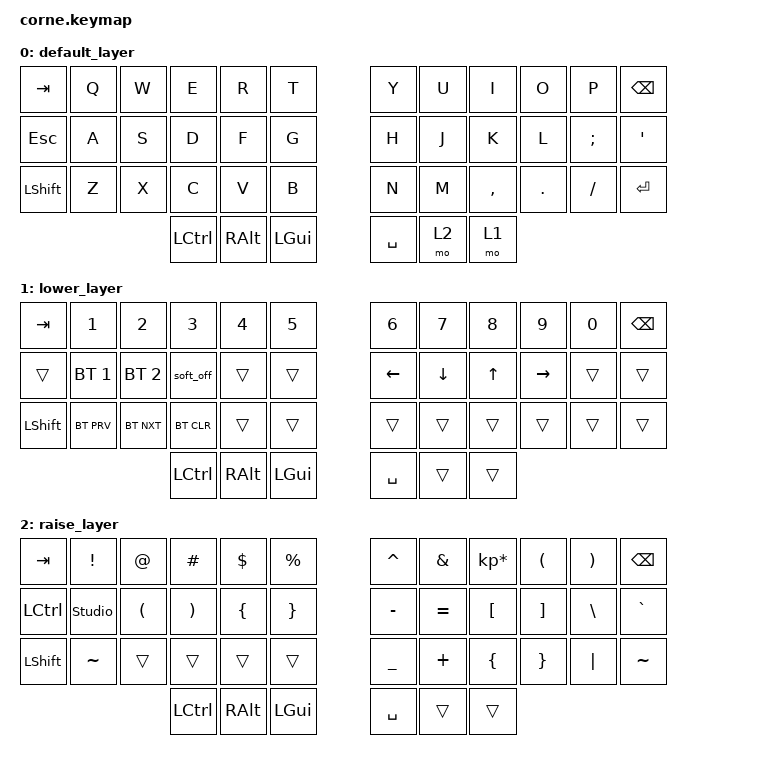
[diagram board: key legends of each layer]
/*
 * Copyright (c) 2020 The ZMK Contributors
 *
 * SPDX-License-Identifier: MIT
 */

#include <behaviors.dtsi>
#include <dt-bindings/zmk/keys.h>
#include <dt-bindings/zmk/bt.h>

/ {
        keymap {
                compatible = "zmk,keymap";

                default_layer {
// -----------------------------------------------------------------------------------------
// |  TAB |  Q  |  W  |  E  |  R  |  T  |   |  Y  |  U   |  I  |  O  |  P  | BKSP |
// |  ESC |  A  |  S  |  D  |  F  |  G  |   |  H  |  J   |  K  |  L  |  ;  |  '   |
// | SHFT |  Z  |  X  |  C  |  V  |  B  |   |  N  |  M   |  ,  |  .  |  /  | RET  |
//                    | LCTRL | ALT | GUI |   | SPACE | RSE  | LWR |
                        bindings = <
   &kp TAB   &kp Q &kp W &kp E &kp R &kp T   &kp Y &kp U  &kp I     &kp O   &kp P    &kp BSPC
   &kp ESC   &kp A &kp S &kp D &kp F &kp G   &kp H &kp J  &kp K     &kp L   &kp SEMI &kp SQT
   &kp LSHFT &kp Z &kp X &kp C &kp V &kp B   &kp N &kp M  &kp COMMA &kp DOT &kp FSLH &kp RET
                  &kp LCTRL  &kp RALT  &kp LGUI  &kp SPACE  &mo 2  &mo 1 
		  >;
                };
                lower_layer {
// -----------------------------------------------------------------------------------------
// |  TAB |  1  |  2    |  3       |  4  |  5  |   |  6  |  7  |  8  |  9  |  0  | BKSP |
// | BTCLR| BT1 | BT2   |  SFT_OFF |     |     |   | LFT | DWN |  UP | RGT |     |      |
// | SHFT |     | BTCLR |          |     |     |   |     |     |     |     |     |      |
//                      | LCTRL | ALT | GUI |   | SPACE |      |     |
                        bindings = <
   &kp TAB    &kp N1        &kp N2       &kp N3     &kp N4   &kp N5         &kp N6   &kp N7   &kp N8 &kp N9    &kp N0 &kp BSPC
   &trans     &bt BT_SEL 1  &bt BT_SEL 2  &soft_off  &trans   &trans     &kp LEFT &kp DOWN &kp UP &kp RIGHT &trans &trans
   &kp LSHFT  &bt BT_PRV    &bt BT_NXT    &bt BT_CLR &trans   &trans         &trans   &trans   &trans &trans    &trans &trans
                  &kp LCTRL  &kp RALT  &kp LGUI  &kp SPACE  &trans  &trans 
                        >;
                };

                raise_layer {
// -----------------------------------------------------------------------------------------
// |  TAB |  !  |  @  |  #  |  $  |  %  |   |  ^  |  &  |  *  |  (  |  )  | BKSP |
// | CTRL |  studio   |  (  |  )  |  {  |  }  |   |  -  |  =  |  [  |  ]  |  \  |  `   |
// | SHFT |  ~  |     |     |     |     |   |  _  |  +  |  {  |  }  | "|" |  ~   |
//                    | LCTRL | ALT | GUI |   | SPACE |      |     |
                        bindings = <
   &kp  TAB  &kp EXCL	&kp AT	  &kp HASH  &kp DLLR &kp PRCNT   &kp CARET &kp AMPS  &kp KP_MULTIPLY &kp LPAR &kp RPAR &kp BSPC
   &kp LCTRL &studio_unlock	&kp LPAR  &kp RPAR  &kp LBRC &kp RBRC    &kp MINUS &kp EQUAL &kp LBKT        &kp RBKT &kp BSLH &kp GRAVE
   &kp LSHFT &kp TILDE	&trans	  &trans    &trans   &trans      &kp UNDER &kp PLUS  &kp LBRC        &kp RBRC &kp PIPE &kp TILDE
                  &kp LCTRL  &kp RALT  &kp LGUI  &kp SPACE  &trans  &trans
                        >;
                };
        };
};
